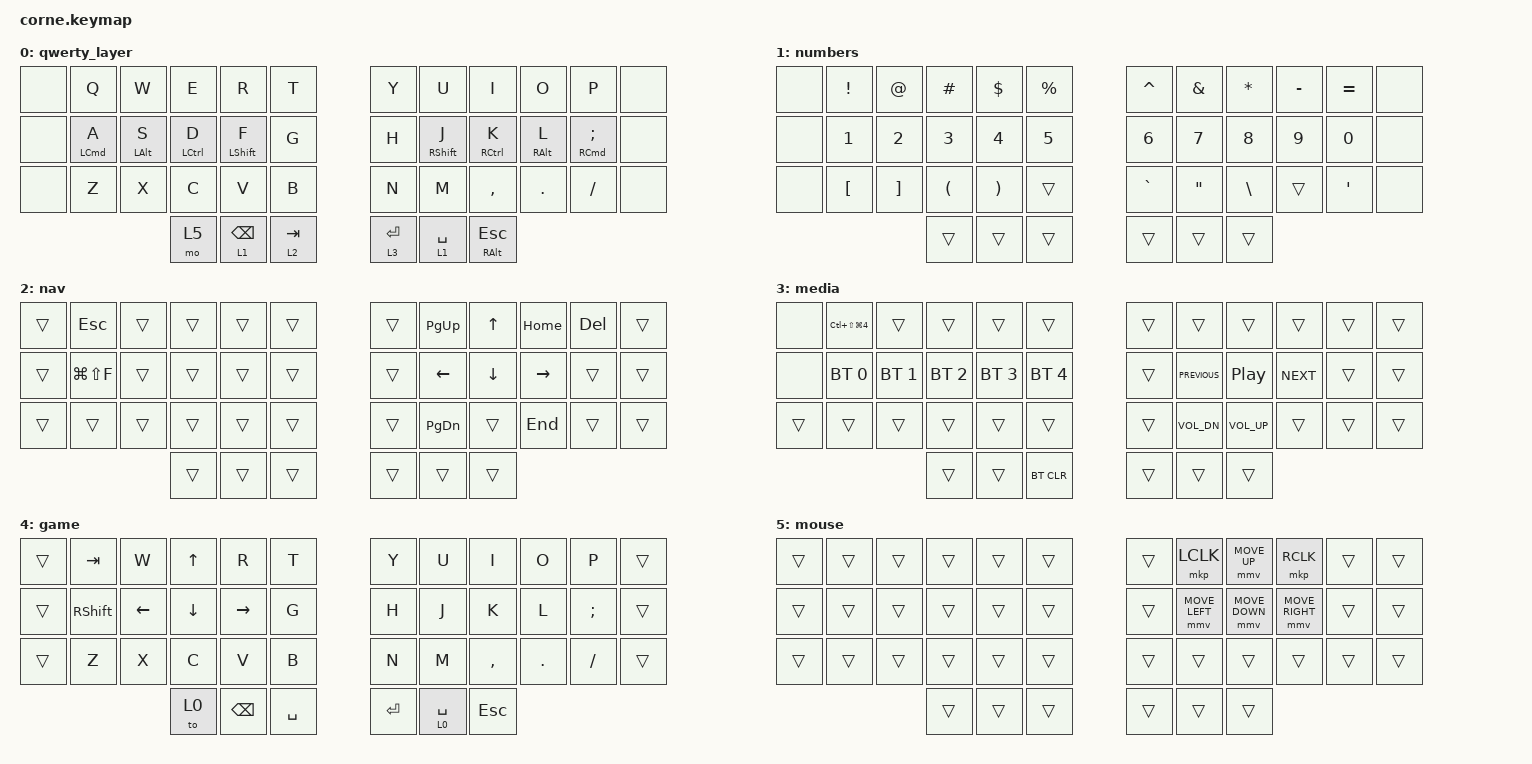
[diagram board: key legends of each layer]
/*
 * Copyright (c) 2020 The ZMK Contributors
 *
 * SPDX-License-Identifier: MIT
 */

#include <behaviors.dtsi>
#include <dt-bindings/zmk/bt.h>
#include <dt-bindings/zmk/keys.h>
#include <dt-bindings/zmk/mouse.h>

&mt {
    tapping-term-ms = <200>;
    quick-tap-ms = <175>;
    require-prior-idle-ms = <150>;
    flavor = "balanced";
};

&lt { tapping-term-ms = <200>; };

/ {
    combos { compatible = "zmk,combos"; };

    conditional_layers { compatible = "zmk,conditional-layers"; };

    keymap {
        compatible = "zmk,keymap";

        qwerty_layer {
            bindings = <
&none  &kp Q               &kp W       &kp E        &kp R            &kp T        &kp Y        &kp U        &kp I              &kp O       &kp P               &none
&none  &mt LEFT_COMMAND A  &mt LALT S  &mt LCTRL D  &mt LSHFT F      &kp G        &kp H        &mt RSHFT J  &mt RCTRL K        &mt RALT L  &mt RCMD SEMICOLON  &none
&none  &kp Z               &kp X       &kp C        &kp V            &kp B        &kp N        &kp M        &kp COMMA          &kp DOT     &kp FSLH            &none
                                       &mo 5        &lt 1 BACKSPACE  &lt 2 TAB    &lt 3 ENTER  &lt 1 SPACE  &mt RIGHT_ALT ESC
            >;
        };

        numbers {
            bindings = <
&none  &kp EXCLAMATION   &kp AT_SIGN        &kp HASH              &kp DOLLAR             &kp PERCENT    &kp CARET     &kp AMPERSAND      &kp ASTERISK   &kp MINUS  &kp EQUAL  &none
&none  &kp NUMBER_1      &kp NUMBER_2       &kp NUMBER_3          &kp NUMBER_4           &kp N5         &kp NUMBER_6  &kp N7             &kp N8         &kp N9     &kp N0     &none
&none  &kp LEFT_BRACKET  &kp RIGHT_BRACKET  &kp LEFT_PARENTHESIS  &kp RIGHT_PARENTHESIS  &trans         &kp GRAVE     &kp DOUBLE_QUOTES  &kp BACKSLASH  &trans     &kp SQT    &none
                                            &trans                &trans                 &trans         &trans        &trans             &trans
            >;
        };

        nav {
            bindings = <
&trans  &kp ESCAPE     &trans  &trans  &trans  &trans    &trans  &kp PAGE_UP     &kp UP_ARROW  &kp HOME   &kp DEL  &trans
&trans  &kp LG(LS(F))  &trans  &trans  &trans  &trans    &trans  &kp LEFT_ARROW  &kp DOWN      &kp RIGHT  &trans   &trans
&trans  &trans         &trans  &trans  &trans  &trans    &trans  &kp PAGE_DOWN   &trans        &kp END    &trans   &trans
                               &trans  &trans  &trans    &trans  &trans          &trans
            >;
        };

        media {
            bindings = <
&none   &kp LC(LS(LG(NUMBER_4)))  &trans        &trans        &trans        &trans          &trans  &trans          &trans            &trans      &trans  &trans
&none   &bt BT_SEL 0              &bt BT_SEL 1  &bt BT_SEL 2  &bt BT_SEL 3  &bt BT_SEL 4    &trans  &kp C_PREVIOUS  &kp C_PLAY_PAUSE  &kp C_NEXT  &trans  &trans
&trans  &trans                    &trans        &trans        &trans        &trans          &trans  &kp K_VOL_DN    &kp K_VOL_UP      &trans      &trans  &trans
                                                &trans        &trans        &bt BT_CLR      &trans  &trans          &trans
            >;
        };

        game {
            bindings = <
&trans  &kp TAB    &kp W     &kp UP    &kp R      &kp T        &kp Y    &kp U        &kp I      &kp O    &kp P     &trans
&trans  &kp RSHFT  &kp LEFT  &kp DOWN  &kp RIGHT  &kp G        &kp H    &kp J        &kp K      &kp L    &kp SEMI  &trans
&trans  &kp Z      &kp X     &kp C     &kp V      &kp B        &kp N    &kp M        &kp COMMA  &kp DOT  &kp FSLH  &trans
                             &to 0     &kp BSPC   &kp SPACE    &kp RET  &lt 0 SPACE  &kp ESC
            >;
        };

        mouse {
            bindings = <
&trans  &trans  &trans           &trans            &trans             &trans    &trans      &mkp LCLK        &mmv MOVE_UP    &mkp RCLK        &trans  &trans
&trans  &trans  &trans           &trans            &trans             &trans    &trans      &mmv MOVE_LEFT   &mmv MOVE_DOWN  &mmv MOVE_RIGHT  &trans  &trans
&trans  &trans  &trans           &trans            &trans             &trans    &trans      &trans           &trans          &trans           &trans  &trans
                                 &trans            &trans             &trans    &trans      &trans           &trans
            >;
        };
    };
};
